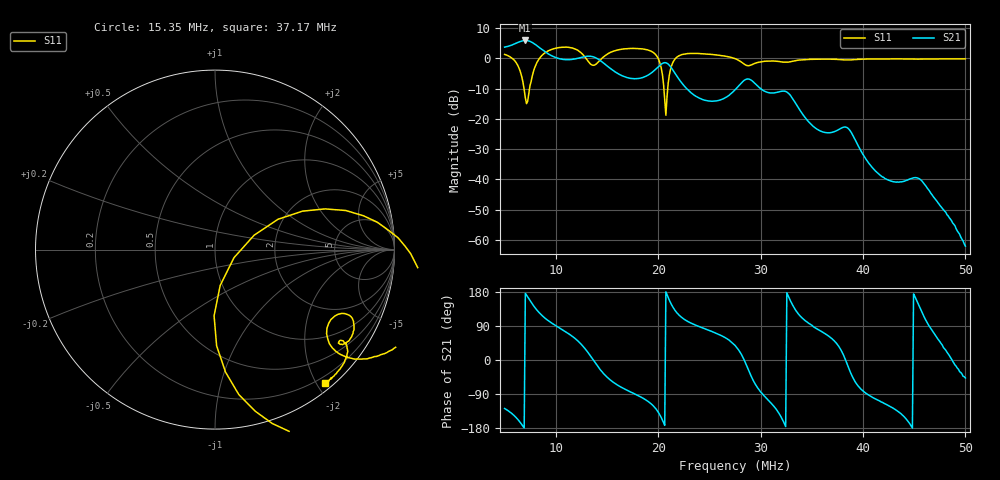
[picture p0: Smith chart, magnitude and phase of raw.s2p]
! S11/S21 only; reverse parameters are placeholders. Device calibration unverified.
! NanoVNA F V2 profile | COM3 | 2026-09-08T11:16:53.9612237-04:00 | device calibration unverified
# HZ S RI R 50
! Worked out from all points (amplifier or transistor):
!   401 points, 5 MHz to 50 MHz, reference 50 ohm
!   highest |S21| = 5.9 dB at 7.025 MHz (marker M1)
!   |S21| within 3 dB of that: start of sweep to 8.652 MHz
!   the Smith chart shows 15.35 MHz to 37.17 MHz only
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5000000  1.13 -0.2536  -0.9403 -1.205  0 0  0 0
6125000  0.6429 -0.5531  -1.564 -0.836  0 0  0 0
7025000  0.1746 -0.1388  -1.963 0.1381  0 0  0 0
8150000  0.4784 -0.7007  -1.082 1.204  0 0  0 0
1.02875e7  -0.1002 -1.497  0.0738 0.989  0 0  0 0
1.1525e7  -0.7367 -1.295  0.4153 0.8603  0 0  0 0
1.25375e7  -1.122 -0.4275  0.7954 0.6655  0 0  0 0
1.3775e7  -0.0266 0.7712  1.036 -0.0839  0 0  0 0
1.5575e7  1.298 -0.0553  0.335 -0.5363  0 0  0 0
1.83875e7  1.096 -0.9215  -0.0729 -0.4701  0 0  0 0
2.0075e7  0.2242 -0.9005  -0.5744 -0.4697  0 0  0 0
2.075e7  0.1055 -0.0453  -0.8431 0.00158  0 0  0 0
2.12e7  0.6132 0.2267  -0.6391 0.3477  0 0  0 0
2.26625e7  1.162 -0.2272  -0.0873 0.3198  0 0  0 0
2.75e7  0.7771 -0.61  0.2351 0.1877  0 0  0 0
2.9525e7  0.7496 -0.3668  0.1536 -0.3408  0 0  0 0
3.23375e7  0.6899 -0.516  -0.2809 -0.0558  0 0  0 0
3.50375e7  0.7012 -0.6572  -0.00147 0.0782  0 0  0 0
3.8525e7  0.559 -0.7509  0.0676 -0.0191  0 0  0 0
4.2575e7  0.4378 -0.8705  -0.00501 -0.0082  0 0  0 0
4.56125e7  0.3227 -0.9161  -0.00699 0.00707  0 0  0 0
5e7  0.1606 -0.9647  0.000535 -0.000585  0 0  0 0
